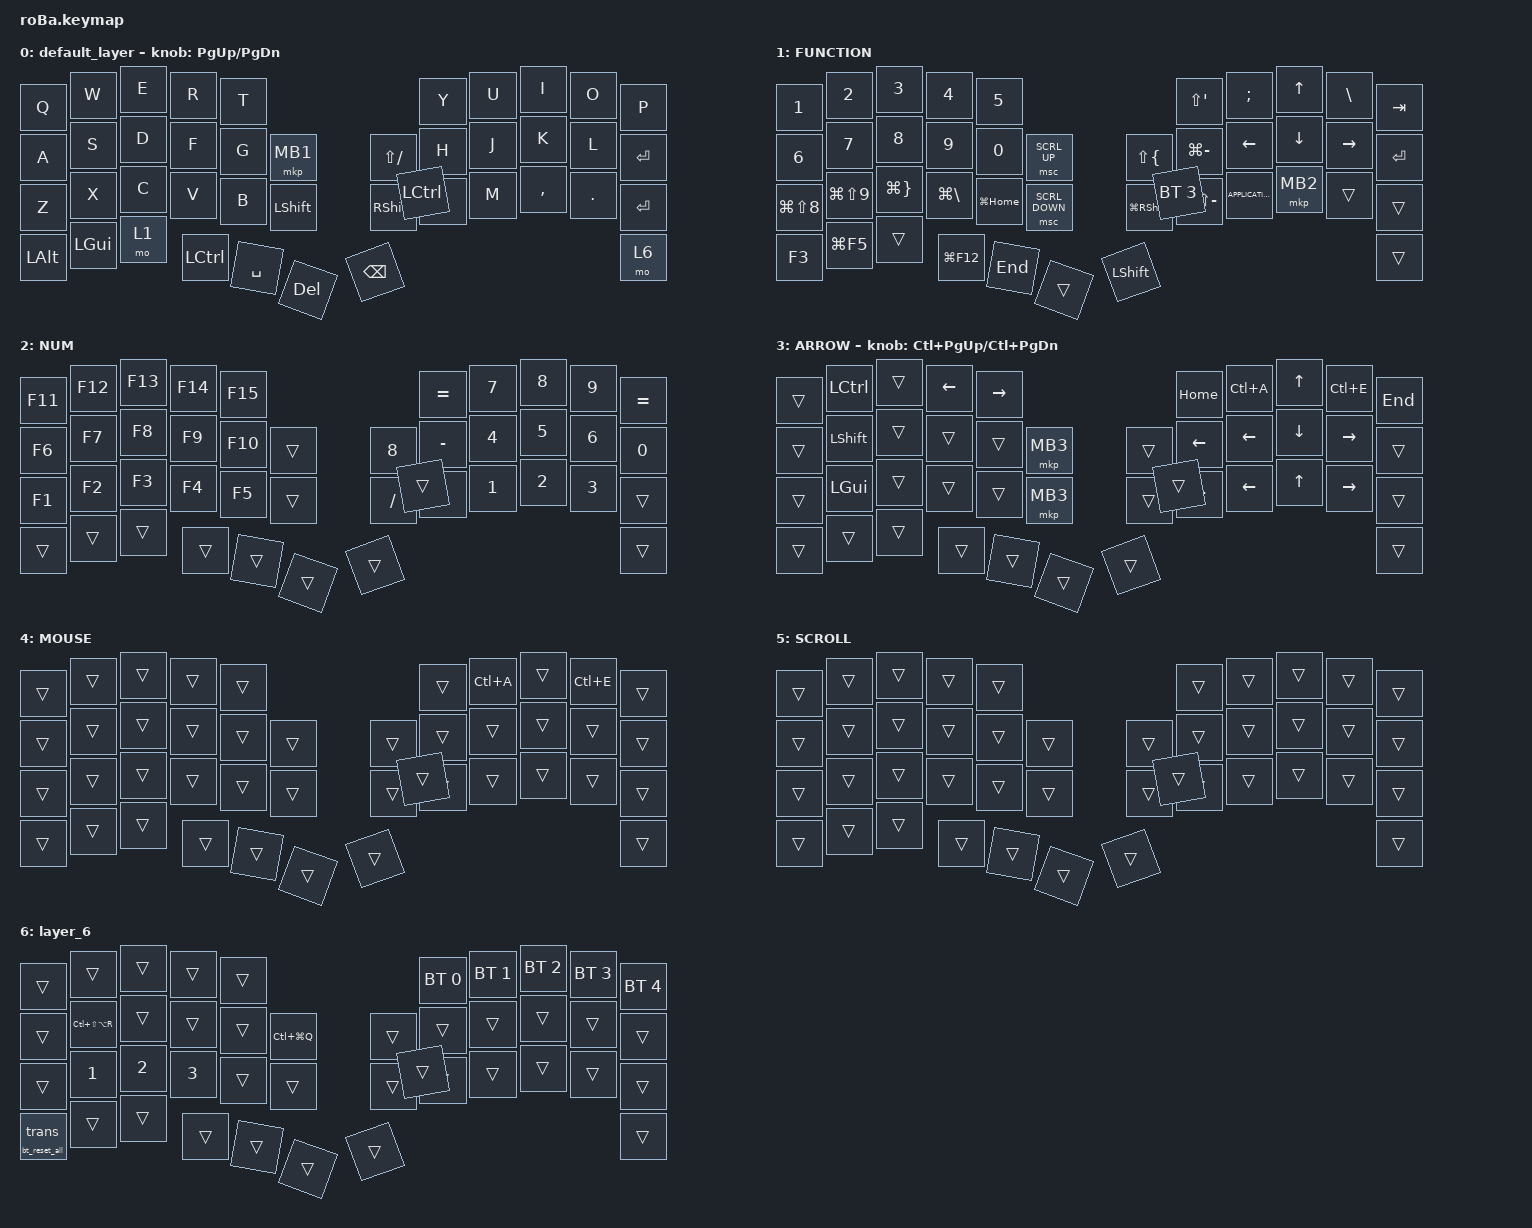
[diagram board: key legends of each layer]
#include <behaviors.dtsi>
#include <dt-bindings/zmk/bt.h>
#include <dt-bindings/zmk/keys.h>
#include <dt-bindings/zmk/pointing.h>

&mt {
    flavor = "balanced";
    quick-tap-ms = <0>;
};

&trackball {
    // automouse-layer disabled (2026-09-13): moving the ball no longer
    // auto-switches into the MOUSE layer. The MOUSE layer definition itself
    // is left in place below (currently unreachable) in case it's wanted
    // again later.
    // automouse-layer = <4>;
    scroll-layers = <5>;

    // arrows {
    //     layers = <3>;
    //     bindings =
    //         <&kp RIGHT_ARROW>,
    //         <&kp LEFT_ARROW>,
    //         <&kp UP_ARROW>,
    //         <&kp DOWN_ARROW>;

    //     tick = <10>;
    //     wait-ms = <5>;
    //     tap-ms = <5>;
    // };
};

/ {
    combos {
        compatible = "zmk,combos";

        // NOTE 2026-10-07: All 5 combos that used to live here (tab,
        // shift_tab, muhennkann, double_quotation, eq) were disabled at the
        // user's request. Left commented out rather than deleted, in case
        // any are wanted back later. Position reference (default_layer):
        // A=10, S=11, D=12, F=13, L=20, right-row2-end RETURN=21, C=24, V=25.
        //
        // tab {
        //     bindings = <&kp TAB>;
        //     key-positions = <11 12>;
        // };
        //
        // shift_tab {
        //     bindings = <&kp LS(TAB)>;
        //     key-positions = <12 13>;
        // };
        //
        // muhennkann {
        //     bindings = <&to_layer_0 INT_MUHENKAN>;
        //     key-positions = <11 10>;
        // };
        //
        // double_quotation {
        //     bindings = <&kp DOUBLE_QUOTES>;
        //     key-positions = <20 21>;
        // };
        //
        // eq {
        //     bindings = <&kp EQUAL>;
        //     key-positions = <24 25>;
        // };

        // Added 2026-10-07, repurposed 2026-10-12: F+J together send GRAVE
        // (Keyboard Grave Accent and Tilde) - this is the Japanese/English
        // IME toggle key that used to live on FUNCTION layer's right-thumb
        // middle position (see FUNCTION layer below, now reassigned to
        // BT_SEL 3). Moved here at the user's request so the IME toggle is
        // still reachable after that key became a Bluetooth profile select.
        // (This combo originally sent TILDE "~" for 2026-10-07 through
        // 2026-10-12; replaced, not kept alongside, since a single
        // key-position pair can only drive one combo.) F = position 13
        // (left hand), J = position 18 (right hand) - the two home-row
        // index-finger keys.
        fj_ime_toggle {
            bindings = <&kp GRAVE>;
            key-positions = <13 18>;
        };
    };

    macros {
        to_layer_0: to_layer_0 {
            compatible = "zmk,behavior-macro-one-param";
            #binding-cells = <1>;
            bindings = <&to 0 &macro_param_1to1 &kp MACRO_PLACEHOLDER>;
            label = "TO_LAYER_0";
        };

        // Added 2026-09-23: &bt takes more than one parameter (the action
        // plus a profile index), so per ZMK docs it cannot be referenced
        // directly inside a hold-tap's "bindings" list - it must be wrapped
        // in a zero-parameter macro first. This macro just fires
        // "&bt BT_CLR_ALL" (clear ALL 5 Bluetooth profile bonds) and is used
        // as the hold-side of bt_reset_hold below.
        bt_reset_all: bt_reset_all {
            compatible = "zmk,behavior-macro";
            #binding-cells = <0>;
            bindings = <&bt BT_CLR_ALL>;
            label = "BT_RESET_ALL";
        };
    };

    behaviors {
        lt_to_layer_0: lt_to_layer_0 {
            compatible = "zmk,behavior-hold-tap";
            label = "LAYER_TAP_TO_0";
            bindings = <&mo>, <&to_layer_0>;

            #binding-cells = <2>;
            tapping-term-ms = <200>;
        };

        // Added 2026-09-23: 7-second-long-press Bluetooth full reset.
        // Placed on layer_6 (reached by holding the right hand's bottom-right
        // thumb key, &mo 6) at the position matching default_layer's LEFT_ALT
        // key - the left hand's outermost/leftmost thumb key. This was chosen
        // deliberately far from &mo 6 (opposite hand, opposite edge of the
        // board) specifically to make an accidental trigger unlikely: you
        // must deliberately hold two keys on opposite hands together for 7+
        // seconds. A quick tap still falls through to whatever the base layer
        // sends there (LEFT_ALT) via the &trans tap-binding; only holding it
        // alone for 7+ seconds fires the hold-binding (the bt_reset_all macro
        // -> &bt BT_CLR_ALL). Deliberately using "tap-preferred" flavor: this
        // makes ZMK wait for the full tapping-term-ms (or an earlier release)
        // before deciding, instead of resolving to "hold" the instant another
        // key is pressed. That means an accidental brief overlap with another
        // keypress can never trigger an early/unwanted Bluetooth reset - only
        // a genuine, uninterrupted 7-second hold of this one key does.
        bt_reset_hold: bt_reset_hold {
            compatible = "zmk,behavior-hold-tap";
            label = "BT_RESET_HOLD";
            bindings = <&bt_reset_all>, <&trans>;

            #binding-cells = <2>;
            tapping-term-ms = <7000>;
            flavor = "tap-preferred";
        };
    };

    keymap {
        compatible = "zmk,keymap";

        // NOTE: This layer reflects the CURRENT on-device state as read directly
        // from ZMK Studio on 2026-09-23 (third sync pass). Compared to the
        // previous sync: row3 left-6th/right-6th gained LeftShift/RightShift
        // (was transparent), row2 right-end became RETURN (was DEL), and the
        // thumb row was reorganized: left thumb is now Alt, LeftGUI, &mo1,
        // LeftControl, Space, Delete-Forward; right thumb is now Backspace,
        // LeftControl, &mo6. Some behaviors that used to be hold-taps /
        // layer-taps (e.g. "I", "Z", "SPACE") have been simplified to plain
        // key presses in earlier syncs.
        //
        // UPDATE 2026-09-23 (later same day): the left-thumb 4th key was
        // GUI+LeftControl (LG(LCTRL)) on the live device - confirmed via ZMK
        // Studio's modifier picker - not a plain Ctrl as it appeared. This was
        // initially left as-is (confirmed intentional), but was then found to
        // have a real-world side effect: pressing it with V sent Win+Ctrl+V,
        // which on this user's PC opens the sound-output-device flyout instead
        // of a normal paste. Per the user's decision, the GUI modifier has been
        // removed here so this key is now plain LeftControl; the live device
        // must be updated to match (either re-edited in ZMK Studio or picked up
        // after the next firmware flash).
        default_layer {
            bindings = <
&kp Q         &kp W         &kp E     &kp R    &kp T                          &kp Y         &kp U    &kp I    &kp O    &kp P
&kp A         &kp S         &kp D     &kp F    &kp G        &mkp MB1                &kp LS(SLASH)  &kp H    &kp J    &kp K    &kp L    &kp RETURN
&kp Z         &kp X         &kp C     &kp V    &kp B        &kp LEFT_SHIFT          &kp RIGHT_SHIFT &kp N    &kp M    &kp COMMA &kp DOT &kp RETURN
&kp LEFT_ALT  &kp LEFT_GUI  &mo 1    &kp LCTRL  &kp SPACE    &kp DEL          &kp BACKSPACE &kp LCTRL                            &mo 6
            >;

            sensor-bindings = <&inc_dec_kp PG_UP PAGE_DOWN>;
        };

        // NOTE: This layer was reworked again on the live device (2026-09-23,
        // third pass). Nearly every key on row2-right ('{' and '-') and all of
        // row3 (both hands: the symbol/bracket/backslash/Home keys on the left
        // and RightShift/'-' on the right) now carry an extra Left-GUI (Windows)
        // modifier stacked on top of their existing Shift/plain binding - e.g.
        // '{' is GUI+Shift+LeftBrace (not just Shift+LeftBrace), RightShift is
        // GUI+RightShift, Home is GUI+Home. This was verified key-by-key via
        // ZMK Studio's modifier-button row, which is easy to miss since the key
        // face only shows the base symbol. The thumb row's F5 and F12 also
        // gained GUI (GUI+F5, GUI+F12), and the thumb-row physical order was
        // corrected (transparent/F12 were previously swapped in this file) with
        // the middle-right thumb key now End (was Escape). Row1 right-end is
        // TAB (was transparent) and row2 right-end is RETURN (was DEL). Row3
        // right-3rd (the position matching default_layer's "M") was changed
        // from &mkp MB1 to &kp K_APPLICATION (2026-09-23): this is the real
        // keyboard "Menu"/"Application" HID key, which opens the OS context
        // menu the same way a right-click does, but as an actual key press
        // rather than a mouse-button emulation - intentional, not a mouse
        // right-click substitute. Symbol keys use the plain/unshifted US
        // keycode or ZMK's pre-shifted alias; JIS-layout correctness has not
        // been re-verified.
        //
        // UPDATE 2026-10-12: the right-thumb middle key (was &kp GRAVE, the
        // Japanese/English IME toggle) now sends &bt BT_SEL 3 (Bluetooth
        // profile 3) instead, at the user's request. The IME-toggle GRAVE
        // keypress this key used to send was moved to a new F+J combo (see
        // the fj_ime_toggle combo near the top of this file) so that
        // function is still reachable.
        FUNCTION {
            bindings = <
&kp NUMBER_1  &kp NUMBER_2  &kp NUMBER_3  &kp NUMBER_4     &kp NUMBER_5                            &kp LS(APOSTROPHE)  &kp SEMICOLON  &kp UP_ARROW    &kp BACKSLASH  &kp TAB
&kp NUMBER_6  &kp NUMBER_7  &kp NUMBER_8  &kp NUMBER_9     &kp NUMBER_0  &msc SCRL_UP                    &kp LS(LEFT_BRACE)  &kp LG(MINUS)  &kp LEFT_ARROW  &kp DOWN_ARROW &kp RIGHT_ARROW &kp RETURN
&kp LG(LS(NUMBER_8))  &kp LG(LS(NUMBER_9))  &kp LG(RIGHT_BRACE)  &kp LG(BACKSLASH)  &kp LG(HOME)  &msc SCRL_DOWN         &kp LG(RIGHT_SHIFT)  &kp LG(LS(MINUS))  &kp K_APPLICATION  &mkp MB2       &trans          &trans
&kp F3        &kp LG(F5)    &trans           &kp LG(F12)    &kp END    &trans                          &kp LEFT_SHIFT      &bt BT_SEL 3                                                     &trans
            >;
        };

        // NOTE: On the live device this layer now holds F-keys plus a simplified
        // numpad (instead of the original heavy symbol layer). The "=" / "-" keys
        // here are the plain Keyboard page keycodes (same position under JIS/US).
        NUM {
            bindings = <
&kp F11  &kp F12  &kp F13  &kp F14  &kp F15                 &kp EQUAL     &kp NUMBER_7  &kp NUMBER_8  &kp NUMBER_9  &kp EQUAL
&kp F6   &kp F7   &kp F8   &kp F9   &kp F10  &trans              &kp NUMBER_8  &kp MINUS     &kp NUMBER_4  &kp NUMBER_5  &kp NUMBER_6  &kp NUMBER_0
&kp F1   &kp F2   &kp F3   &kp F4   &kp F5   &trans              &kp SLASH     &kp MINUS     &kp NUMBER_1  &kp NUMBER_2  &kp NUMBER_3  &trans
&trans   &trans   &trans   &trans   &trans   &trans              &trans        &trans                                                    &trans
            >;
        };

        // NOTE: Rebuilt on the live device as an emacs/readline-style navigation
        // layer (Home / Ctrl+A / Up / Ctrl+E / End, plus duplicated arrow keys),
        // and the two floating inner keys on the left hand are bound to the
        // trackball's right-click (MB3). No key on default_layer / FUNCTION / NUM
        // / MOUSE currently activates this layer (no &mo/&lt targets it) - as far
        // as could be found it is presently unreachable except from within
        // ZMK Studio itself.
        ARROW {
            bindings = <
&trans          &kp LCTRL  &trans  &kp LEFT_ARROW  &kp RIGHT_ARROW               &kp HOME  &kp LC(A)  &kp UP_ARROW    &kp LC(E)  &kp END
&trans          &kp LEFT_SHIFT  &trans  &trans  &trans  &mkp MB3            &trans  &kp LEFT_ARROW  &kp LEFT_ARROW  &kp DOWN_ARROW  &kp RIGHT_ARROW  &trans
&trans          &kp LEFT_GUI  &trans  &trans  &trans  &mkp MB3            &trans  &kp LEFT_ARROW  &kp LEFT_ARROW  &kp UP_ARROW    &kp RIGHT_ARROW  &trans
&trans          &trans  &trans  &trans  &trans  &trans              &trans  &trans                                                &trans
            >;

            sensor-bindings = <&inc_dec_kp LC(PAGE_UP) LC(PAGE_DOWN)>;
        };

        // NOTE: The original MB1/MB2/MB3 click bindings that used to live here
        // are gone; MB1 (left click) now lives directly on default_layer instead.
        // Only a stray Ctrl+A / Ctrl+E pair remain (mirroring the ARROW layer).
        // automouse-layer on &trackball was disabled (2026-09-13), so moving
        // the ball no longer auto-activates this layer; it is currently
        // unreachable (like ARROW) unless something is later wired to &mo 4.
        MOUSE {
            bindings = <
&trans  &trans  &trans     &trans  &trans                      &trans  &kp LC(A)  &trans  &kp LC(E)  &trans
&trans  &trans  &trans     &trans  &trans  &trans      &trans  &trans  &trans     &trans  &trans     &trans
&trans  &trans  &trans     &trans  &trans  &trans      &trans  &trans  &trans     &trans  &trans     &trans
&trans  &trans  &trans     &trans  &trans  &trans      &trans  &trans                                &trans
            >;
        };

        SCROLL {
            bindings = <
&trans  &trans  &trans  &trans  &trans                      &trans  &trans  &trans  &trans  &trans
&trans  &trans  &trans  &trans  &trans  &trans      &trans  &trans  &trans  &trans  &trans  &trans
&trans  &trans  &trans  &trans  &trans  &trans      &trans  &trans  &trans  &trans  &trans  &trans
&trans  &trans  &trans  &trans  &trans  &trans      &trans  &trans                          &trans
            >;
        };

        // NOTE: BT profile selection (row 1) is unchanged from the template.
        // "R" and "Q" (row 2 left hand) are custom shortcuts unrelated to
        // Bluetooth (Ctrl+Shift+Alt+R and Ctrl+Win+Q) that were added here.
        // The bootloader entry key is still gone - there is no keymap-based
        // way to enter the bootloader; use the physical reset button /
        // double-tap-reset for that.
        //
        // UPDATE 2026-09-23: added a keymap-based Bluetooth full reset. The
        // left thumb's outermost key (the position matching default_layer's
        // LEFT_ALT, on the opposite hand/edge from the &mo6 key that reaches
        // this layer - chosen so a mis-press is unlikely) now runs
        // bt_reset_hold instead of &trans: hold it alone for 7+ seconds while
        // &mo6 is held to run "&bt BT_CLR_ALL" (clears ALL 5 Bluetooth profile
        // bonds - full reset, not just the current profile, per user's choice).
        // A normal quick tap still passes through to LEFT_ALT exactly as
        // before (unchanged behavior for everyday use).
        layer_6 {
            bindings = <
&trans  &trans                &trans        &trans        &trans                           &bt BT_SEL 0  &bt BT_SEL 1  &bt BT_SEL 2  &bt BT_SEL 3  &bt BT_SEL 4
&trans  &kp LC(LS(LA(R)))     &trans        &trans        &trans  &kp LC(LG(Q))       &trans        &trans        &trans        &trans        &trans        &trans
&trans  &kp NUMBER_1          &kp NUMBER_2  &kp NUMBER_3  &trans  &trans              &trans        &trans        &trans        &trans        &trans        &trans
&bt_reset_hold 0 0  &trans     &trans        &trans        &trans  &trans              &trans        &trans                                                    &trans
            >;
        };
    };
};

